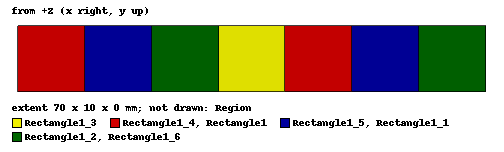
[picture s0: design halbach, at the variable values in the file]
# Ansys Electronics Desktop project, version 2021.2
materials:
  vacuum: permittivity=1
  NdFe351: permittivity=1 permeability=1.0997785 conductivity=625000 magnetic_coercivity{Magnitude=-1033000A_per_meter DirComp1=1 DirComp2=0 DirComp3=0} lande_g_factor=2
  NdFe352: permittivity=1 permeability=1.0997785 conductivity=625000 magnetic_coercivity{Magnitude=-1033000A_per_meter DirComp1=-1 DirComp2=0 DirComp3=0} lande_g_factor=2
  NdFe353: permittivity=1 permeability=1.0997785 conductivity=625000 magnetic_coercivity{Magnitude=-1033000A_per_meter DirComp1=0 DirComp2=-1 DirComp3=0} lande_g_factor=2
  NdFe354: permittivity=1 permeability=1.0997785 conductivity=625000 magnetic_coercivity{Magnitude=-1033000A_per_meter DirComp1=0 DirComp2=1 DirComp3=0} lande_g_factor=2
  50w470entend: permeability{HUnit=A_per_meter BUnit=tesla curve (0, 0) (64, 0.4) (68, 0.45) (72, 0.5) (75, 0.55) (77, 0.6) (79, 0.65) (80, 0.7) (84, 0.75) (88, 0.8) (96, 0.85) (104, 0.9) (112, 0.95) (121, 1) (134, 1.05) (143, 1.1) (167, 1.15) (189, 1.2) (223, 1.25) (263, 1.3) (318, 1.35) (430, 1.4) (669, 1.45) (995, 1.5) (1592, 1.55) (2548, 1.6) (3742, 1.65) (5096, 1.7) (6688, 1.75) (10098, 1.8) (13000, 1.85) (16000, 1.9) (20500, 1.95) (28000, 2) (40000, 2.05) (65000, 2.1) (93000, 2.15) (125500, 2.2) (158000, 2.25) (190500, 2.3) (223000, 2.35) (255500, 2.4) (288000, 2.45) (321960, 2.5) (361760, 2.55) (401560, 2.6) (441360, 2.65) (481160, 2.7) (520960, 2.75) (560760, 2.8) (600560, 2.85)} conductivity=2000000
  air: permittivity=1.0006 permeability=1.0000004
  steel_1008: permeability{HUnit=A_per_meter BUnit=tesla curve (0, 0) (159.2, 0.2402) (318.3, 0.8654) (477.5, 1.1106) (636.6, 1.2458) (795.8, 1.331) (1591.5, 1.5) (3183.1, 1.6) (4774.6, 1.683) (6366.2, 1.741) (7957.7, 1.78) (15915.5, 1.905) (31831, 2.025) (47746.5, 2.085) (63662, 2.13) (79577.5, 2.165) (159155, 2.28) (318310, 2.485) (397887, 2.5851)} conductivity=2000000
  steel_1010: permittivity=1 permeability{HUnit=A_per_meter BUnit=tesla curve (0, 0) (238.7, 0.2003) (318.3, 0.3204) (358.1, 0.40045) (437.7, 0.50055) (477.5, 0.5606) (636.6, 0.7908) (795.8, 0.931) (1114.1, 1.1014) (1273.2, 1.2016) (1591.5, 1.302) (2228.2, 1.4028) (3183.1, 1.524) (4774.6, 1.626) (6366.2, 1.698) (7957.7, 1.73) (15915.5, 1.87) (31831, 1.99) (47746.5, 2.04) (63662, 2.07) (79577.5, 2.095) (159155, 2.2) (318310, 2.4)} conductivity=2000000 lande_g_factor=2
  copper: permeability=0.999991 conductivity=58000000

design halbach (Maxwell 2D, Magnetostatic, XY geometry, model units mm)
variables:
  N = 400
  b = 0mm
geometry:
  Rectangle1 [NdFe351] = rectangle(corner=(0mm, 0mm, 0mm), x_size=10mm, y_size=10mm)
  Rectangle1_1 [NdFe353], Rectangle1_2 [NdFe352], Rectangle1_3 [NdFe354], Rectangle1_4 [NdFe351], Rectangle1_5 [NdFe353], Rectangle1_6 [NdFe352] = Rectangle1.duplicate_along_line(step=(10mm, 0mm, 0mm), total=19)  # copies kept: 1..6
  Region [vacuum] = region(percentage_offset: +X=30, -X=30, +Y=200, -Y=200, +Z=0, -Z=0)
  Polyline2 = polyline((15mm, 0mm, 0mm) (55mm, 0mm, 0mm))
  Polyline2.move(0mm, -1mm, 0mm)
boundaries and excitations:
  VectorPotential1: Vector Potential Edges=Region.edge(all 4) Value=0
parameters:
  Forcepm: Force Reference_CS=Global Objects=[Rectangle1, Rectangle1_4, Rectangle1_2, Rectangle1_6, Rectangle1_1, Rectangle1_5, Rectangle1_3]
  Torquepm: Torque Coordinate_System=Global Is_Positive=true Objects=[Rectangle1, Rectangle1_4, Rectangle1_2, Rectangle1_6, Rectangle1_1, Rectangle1_5, Rectangle1_3]
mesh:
  pm: LengthBased RefineInside Objects=[Rectangle1, Rectangle1_4, Rectangle1_2, Rectangle1_6, Rectangle1_1, Rectangle1_5, Rectangle1_3] MaxLength=0.5mm
  r: LengthBased RefineInside Objects=Region MaxLength=1mm
  initial mesh: MeshMethod=AnsoftTAU
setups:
  Setup1: Magnetostatic MaximumPasses=10 MinimumPasses=2 MinimumConvergedPasses=1 PercentRefinement=30 PercentError=1 NonLinearResidual=0.0001
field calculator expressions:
  bx = Fundamental_Quantity(22) | ScalarX
  by = Fundamental_Quantity(22) | ScalarY
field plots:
  Flux_Lines1: A over Rectangle1, Rectangle1_1..Rectangle1_6, Region on Setup1 : LastAdaptive
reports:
  Bx: bx vs Distance on Setup1 : LastAdaptive
  FFT Bx: FFT bx vs FFT Distance; markers m1 at 24.99975, m2 at 124.99875, m3 at 224.99775, m4 at 324.99675, m5 at 424.99575
